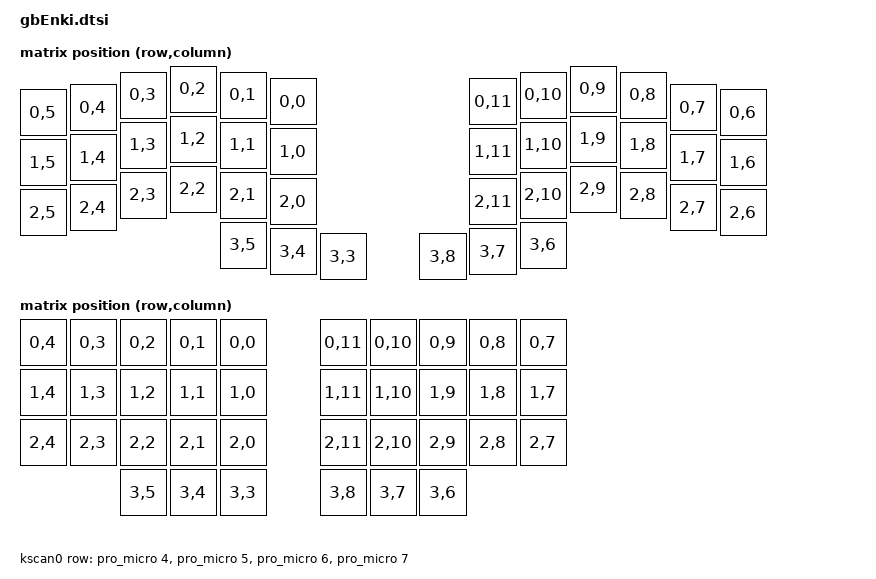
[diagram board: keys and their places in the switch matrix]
/*
 * Copyright (c) 2020 Pete Johanson
 *
 * SPDX-License-Identifier: MIT
 */

#include <dt-bindings/zmk/matrix_transform.h>
#include <physical_layouts.dtsi>

/ {
    chosen {
        // zephyr,display = &oled;
        zmk,physical-layout = &default_layout;
        zmk,kscan = &kscan0;
        // zmk,matrix-transform = &default_transform;
        zmk,backlight = &backlight;
    };

    default_transform: keymap_transform_0 {
        compatible = "zmk,matrix-transform";
        columns = <12>;
        rows = <4>;
// | SW1  | SW2  | SW3  | SW4  | SW5  | SW6  |   | SW6  | SW5  | SW4  | SW3  | SW2  | SW1  |
// | SW7  | SW8  | SW9  | SW10 | SW11 | SW12 |   | SW12 | SW11 | SW10 | SW9  | SW8  | SW7  |
// | SW13 | SW14 | SW15 | SW16 | SW17 | SW18 |   | SW18 | SW17 | SW16 | SW15 | SW14 | SW13 |
//                      | SW19 | SW20 | SW21 |   | SW21 | SW20 | SW19 |
        map = <
RC(0,5) RC(0,4) RC(0,3) RC(0,2) RC(0,1) RC(0,0)  RC(0,11) RC(0,10) RC(0,9) RC(0,8) RC(0,7) RC(0,6)
RC(1,5) RC(1,4) RC(1,3) RC(1,2) RC(1,1) RC(1,0)  RC(1,11) RC(1,10) RC(1,9) RC(1,8) RC(1,7) RC(1,6)
RC(2,5) RC(2,4) RC(2,3) RC(2,2) RC(2,1) RC(2,0)  RC(2,11) RC(2,10) RC(2,9) RC(2,8) RC(2,7) RC(2,6)
                        RC(3,5) RC(3,4) RC(3,3)  RC(3,8) RC(3,7) RC(3,6)
        >;
    };

    five_column_transform: keymap_transform_1 {
        compatible = "zmk,matrix-transform";
        columns = <10>;
        rows = <4>;
// | SW2  | SW3  | SW4  | SW5  | SW6  |   | SW6  | SW5  | SW4  | SW3  | SW2  |
// | SW8  | SW9  | SW10 | SW11 | SW12 |   | SW12 | SW11 | SW10 | SW9  | SW8  |
// | SW14 | SW15 | SW16 | SW17 | SW18 |   | SW18 | SW17 | SW16 | SW15 | SW14 |
//                      | SW19 | SW20 | SW21 |   | SW21 | SW20 | SW19 |
        map = <
RC(0,4) RC(0,3) RC(0,2) RC(0,1) RC(0,0)  RC(0,11) RC(0,10) RC(0,9) RC(0,8) RC(0,7) 
RC(1,4) RC(1,3) RC(1,2) RC(1,1) RC(1,0)  RC(1,11) RC(1,10) RC(1,9) RC(1,8) RC(1,7)
RC(2,4) RC(2,3) RC(2,2) RC(2,1) RC(2,0)  RC(2,11) RC(2,10) RC(2,9) RC(2,8) RC(2,7)
                        RC(3,5) RC(3,4) RC(3,3)  RC(3,8) RC(3,7) RC(3,6)
        >;
    };

    kscan0: kscan {
        compatible = "zmk,kscan-gpio-matrix";
        diode-direction = "col2row";
        row-gpios
            = <&pro_micro 4 (GPIO_ACTIVE_HIGH | GPIO_PULL_DOWN)>
            , <&pro_micro 5 (GPIO_ACTIVE_HIGH | GPIO_PULL_DOWN)>
            , <&pro_micro 6 (GPIO_ACTIVE_HIGH | GPIO_PULL_DOWN)>
            , <&pro_micro 7 (GPIO_ACTIVE_HIGH | GPIO_PULL_DOWN)>
            ;
            wakeup-source;

    };

        default_layout: default_layout {
        compatible = "zmk,physical-layout";
        display-name = "gbEnki";

        kscan = <&kscan0>;
        transform = <&default_transform>;

        keys  //                     w   h    x    y     rot    rx    ry
            = <&key_physical_attrs 100 100    0   47       0     0     0>
            , <&key_physical_attrs 100 100  100   37       0     0     0>
            , <&key_physical_attrs 100 100  200   12       0     0     0>
            , <&key_physical_attrs 100 100  300    0       0     0     0>
            , <&key_physical_attrs 100 100  400   12       0     0     0>
            , <&key_physical_attrs 100 100  500   25       0     0     0>
            , <&key_physical_attrs 100 100  900   25       0     0     0>
            , <&key_physical_attrs 100 100 1000   12       0     0     0>
            , <&key_physical_attrs 100 100 1100    0       0     0     0>
            , <&key_physical_attrs 100 100 1200   12       0     0     0>
            , <&key_physical_attrs 100 100 1300   37       0     0     0>
            , <&key_physical_attrs 100 100 1400   47       0     0     0>
            , <&key_physical_attrs 100 100    0  147       0     0     0>
            , <&key_physical_attrs 100 100  100  137       0     0     0>
            , <&key_physical_attrs 100 100  200  112       0     0     0>
            , <&key_physical_attrs 100 100  300  100       0     0     0>
            , <&key_physical_attrs 100 100  400  112       0     0     0>
            , <&key_physical_attrs 100 100  500  125       0     0     0>
            , <&key_physical_attrs 100 100  900  125       0     0     0>
            , <&key_physical_attrs 100 100 1000  112       0     0     0>
            , <&key_physical_attrs 100 100 1100  100       0     0     0>
            , <&key_physical_attrs 100 100 1200  112       0     0     0>
            , <&key_physical_attrs 100 100 1300  137       0     0     0>
            , <&key_physical_attrs 100 100 1400  147       0     0     0>
            , <&key_physical_attrs 100 100    0  247       0     0     0>
            , <&key_physical_attrs 100 100  100  237       0     0     0>
            , <&key_physical_attrs 100 100  200  212       0     0     0>
            , <&key_physical_attrs 100 100  300  200       0     0     0>
            , <&key_physical_attrs 100 100  400  212       0     0     0>
            , <&key_physical_attrs 100 100  500  225       0     0     0>
            , <&key_physical_attrs 100 100  900  225       0     0     0>
            , <&key_physical_attrs 100 100 1000  212       0     0     0>
            , <&key_physical_attrs 100 100 1100  200       0     0     0>
            , <&key_physical_attrs 100 100 1200  212       0     0     0>
            , <&key_physical_attrs 100 100 1300  237       0     0     0>
            , <&key_physical_attrs 100 100 1400  247       0     0     0>
            , <&key_physical_attrs 100 100  400  312       0     0     0>
            , <&key_physical_attrs 100 100  500  325       0     0     0>
            , <&key_physical_attrs 100 100  600  335       0     0     0>
            , <&key_physical_attrs 100 100  800  335       0     0     0>
            , <&key_physical_attrs 100 100  900  325       0     0     0>
            , <&key_physical_attrs 100 100 1000  312       0     0     0>
            ;
    };

 //&pro_micro_i2c {
 //    status = "okay";
 //
 //    oled: ssd1306@3c {
 //        compatible = "solomon,ssd1306fb";
 //        reg = <0x3c>;
 //        width = <128>;
 //        height = <32>;
 //        segment-offset = <0>;
 //        page-offset = <0>;
 //        display-offset = <0>;
 //        multiplex-ratio = <31>;
 //        segment-remap;
 //        com-invdir;
 //        com-sequential;
 //        inversion-on;
 //        prechargep = <0x22>;
 //    };
 // };

};

